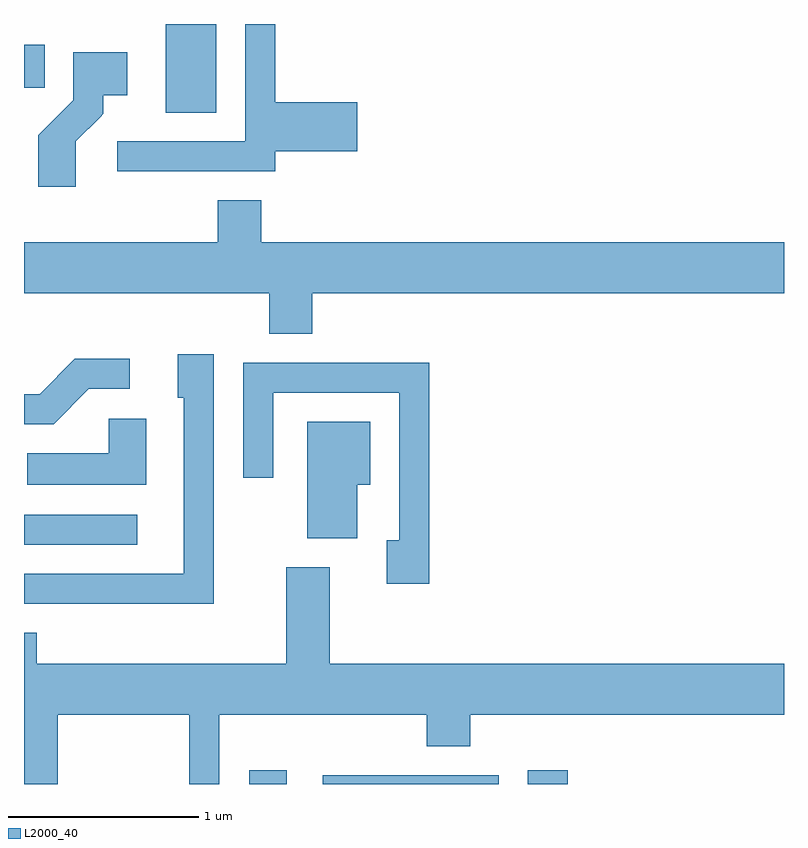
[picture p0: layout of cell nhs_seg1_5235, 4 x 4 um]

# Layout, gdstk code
import gdstk
lib = gdstk.Library(unit=1e-6, precision=1e-09)
def R(c, l, rs):  # rectangles x0, y0, x1, y1
    for r in rs: c.add(gdstk.rectangle(r[:2], r[2:], *l))
def P(c, l, *ps):  # polygons
    for p in ps: c.add(gdstk.Polygon(p, *l))
L2000_40 = (2000, 40)

nhs_seg1_5235 = lib.new_cell('nhs_seg1_5235')
R(nhs_seg1_5235, L2000_40, [(344.796,843.712,344.994,843.784), (345.183,843.712,346.109,843.759), (346.261,843.712,346.474,843.784), (343.611,844.971,344.208,845.129), (344.356,847.246,344.624,847.712), (343.611,847.376,343.719,847.604)])
P(nhs_seg1_5235, L2000_40, [(344.934,847.041),(345.364,847.041),(345.364,847.299),(344.934,847.299),(344.934,847.712),(344.776,847.712),(344.776,847.094),(344.103,847.094),(344.103,846.936),(344.934,846.936)],
  [(343.884,847.094),(344.013,847.222),(344.029,847.239),(344.029,847.336),(344.154,847.336),(344.154,847.564),(343.871,847.564),(343.871,847.312),(343.686,847.127),(343.686,846.856),(343.884,846.856)],
  [(345.129,846.296),(347.611,846.296),(347.611,846.564),(344.859,846.564),(344.859,846.784),(344.631,846.784),(344.631,846.564),(343.611,846.564),(343.611,846.296),(344.901,846.296),(344.901,846.081),(345.129,846.081)],
  [(344.609,845.974),(344.421,845.974),(344.421,845.746),(344.451,845.746),(344.451,844.819),(343.611,844.819),(343.611,844.661),(344.609,844.661)],
  [(343.952,845.791),(344.168,845.791),(344.168,845.949),(343.879,845.949),(343.694,845.764),(343.611,845.764),(343.611,845.606),(343.767,845.606)],
  [(345.744,845.929),(344.766,845.929),(344.766,845.323),(344.924,845.323),(344.924,845.771),(345.586,845.771),(345.586,844.994),(345.521,844.994),(345.521,844.766),(345.744,844.766)],
  [(344.254,845.634),(344.056,845.634),(344.056,845.454),(343.628,845.454),(343.628,845.286),(344.254,845.286)],
  [(345.364,845.286),(345.434,845.286),(345.434,845.619),(345.101,845.619),(345.101,845.006),(345.364,845.006)],
  [(345.219,844.854),(344.991,844.854),(344.991,844.344),(343.679,844.344),(343.679,844.509),(343.611,844.509),(343.611,843.712),(343.789,843.712),(343.789,844.076),(344.481,844.076),(344.481,843.712),(344.639,843.712),(344.639,844.076),(345.731,844.076),(345.731,843.911),(345.959,843.911),(345.959,844.076),(347.611,844.076),(347.611,844.344),(345.219,844.344)])

lib.write_gds('nhs_seg1_5235.gds')
